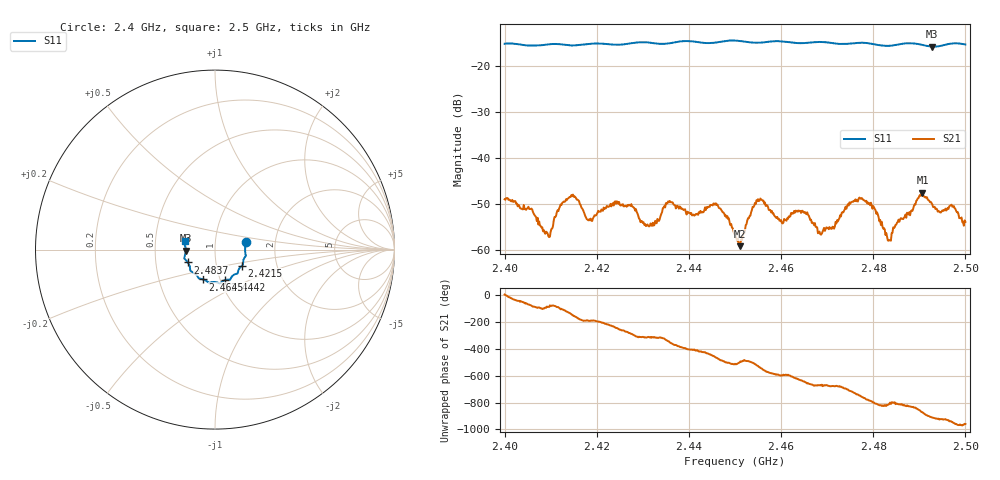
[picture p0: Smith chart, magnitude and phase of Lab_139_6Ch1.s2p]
# Hz S RI R 50
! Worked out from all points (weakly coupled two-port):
!   601 points, 2.4 GHz to 2.5 GHz, reference 50 ohm
!   highest |S21| = -47.57 dB at 2.4907 GHz (marker M1); lowest = -59.2 dB at 2.451 GHz (marker M2)
!   lowest |S11| = -15.7 dB at 2.4928 GHz (marker M3), VSWR 1.39, Z = 36 - j0.379 ohm
!   |S11| at or under -10 dB: start of sweep to end of sweep
!   S12 and S22 are empty: the file has one direction only
!   S11 on the Smith chart (normalised r, x): 2.4 GHz: 1.41, +0.12; 2.4215 GHz: 1.33, -0.25; 2.4442 GHz: 1.05, -0.37; 2.4645 GHz: 0.83, -0.29; 2.4837 GHz: 0.73, -0.11; 2.5 GHz: 0.71, +0.07
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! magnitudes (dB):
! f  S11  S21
! 2.4 GHz  -15.1  -49.0
! 2.4093 GHz  -15.2  -56.4
! 2.413 GHz  -15.3  -49.5
! 2.4167 GHz  -15.3  -50.8
! 2.4185 GHz  -15.1  -53.6
! 2.4215 GHz  -15.1  -50.8
! 2.4333 GHz  -15.1  -53.5
! 2.4355 GHz  -15.0  -49.5
! 2.4442 GHz  -15.0  -50.6
! 2.45 GHz  -14.4  -56.6
! 2.451 GHz  -14.5  -59.2
! 2.4552 GHz  -14.9  -49.4
! 2.46 GHz  -14.6  -53.5
! 2.4645 GHz  -15.0  -51.5
! 2.4667 GHz  -14.8  -54.2
! 2.4712 GHz  -15.0  -55.0
! 2.4773 GHz  -14.9  -48.9
! 2.4833 GHz  -15.6  -58.0
! 2.4837 GHz  -15.5  -57.9
! 2.4907 GHz  -15.4  -47.6
! 2.4928 GHz  -15.7  -50.2
! 2.5 GHz  -15.3  -53.9
